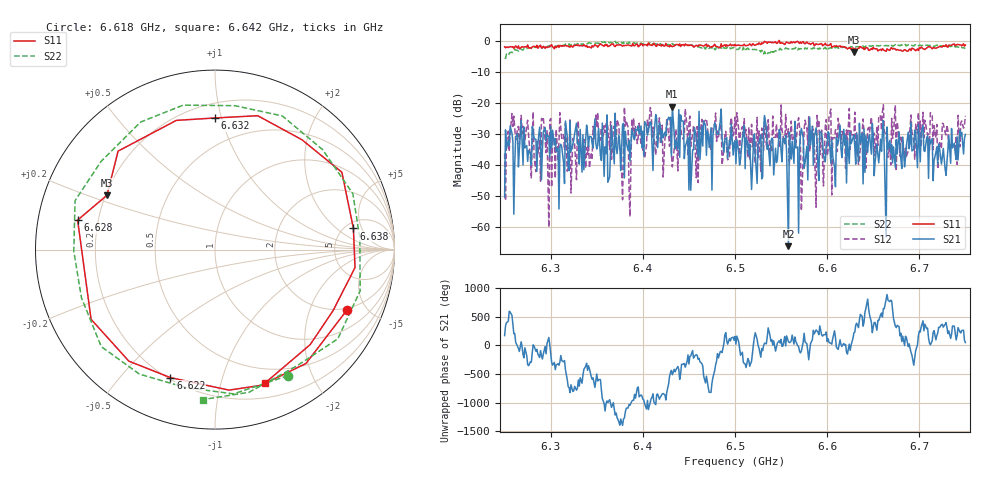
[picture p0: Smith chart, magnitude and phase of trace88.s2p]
# Hz S RI R 50
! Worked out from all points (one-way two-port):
!   401 points, 6.25 GHz to 6.75 GHz, reference 50 ohm
!   highest |S21| = -21.05 dB at 6.432 GHz (marker M1); lowest = -66.0 dB at 6.558 GHz (marker M2)
!   lowest |S11| = -3.4 dB at 6.629 GHz (marker M3), VSWR 5.13, Z = 10.3 + j11.4 ohm
!   |S11| at or under -10 dB: nowhere
!   |S22| runs from -5.5 to 0.0 dB; largest |S21 - S12| = 0.15
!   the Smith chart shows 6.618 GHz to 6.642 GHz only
!   S11 on the Smith chart (normalised r, x): 6.618 GHz: 1.89, -3.67; 6.622 GHz: 0.21, -0.69; 6.628 GHz: 0.12, +0.10; 6.632 GHz: 0.30, +0.95; 6.638 GHz: 5.91, +3.56; 6.642 GHz: 0.34, -1.38
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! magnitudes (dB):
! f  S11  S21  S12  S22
! 6.25 GHz  -1.8  -50.2  -36.1  -5.5
! 6.254 GHz  -2.0  -31.9  -29.0  -4.5
! 6.259 GHz  -1.7  -32.4  -27.4  -3.6
! 6.334 GHz  -1.4  -42.2  -36.1  -1.2
! 6.349 GHz  -1.3  -32.9  -23.8  -0.5
! 6.418 GHz  -1.2  -26.3  -24.7  -1.2
! 6.432 GHz  -1.7  -21.0  -40.5  -0.7
! 6.452 GHz  -1.2  -48.0  -33.9  -1.0
! 6.482 GHz  -1.9  -30.0  -30.8  -2.2
! 6.5 GHz  -1.0  -32.0  -24.4  -2.2
! 6.558 GHz  -0.5  -66.0  -28.2  -2.4
! 6.584 GHz  -0.5  -27.4  -27.4  -2.4
! 6.618 GHz  -1.8  -28.4  -30.6  -1.8
! 6.622 GHz  -2.4  -31.8  -33.1  -1.6
! 6.628 GHz  -2.1  -31.2  -30.3  -1.9
! 6.629 GHz  -3.4  -30.1  -30.7  -1.7
! 6.632 GHz  -2.7  -29.7  -29.4  -1.6
! 6.638 GHz  -2.2  -29.6  -29.3  -1.5
! 6.642 GHz  -2.0  -30.4  -40.9  -1.5
! 6.659 GHz  -3.0  -35.5  -28.7  -1.4
! 6.668 GHz  -2.9  -31.9  -33.7  -1.3
! 6.75 GHz  -1.2  -30.0  -24.0  -2.1
